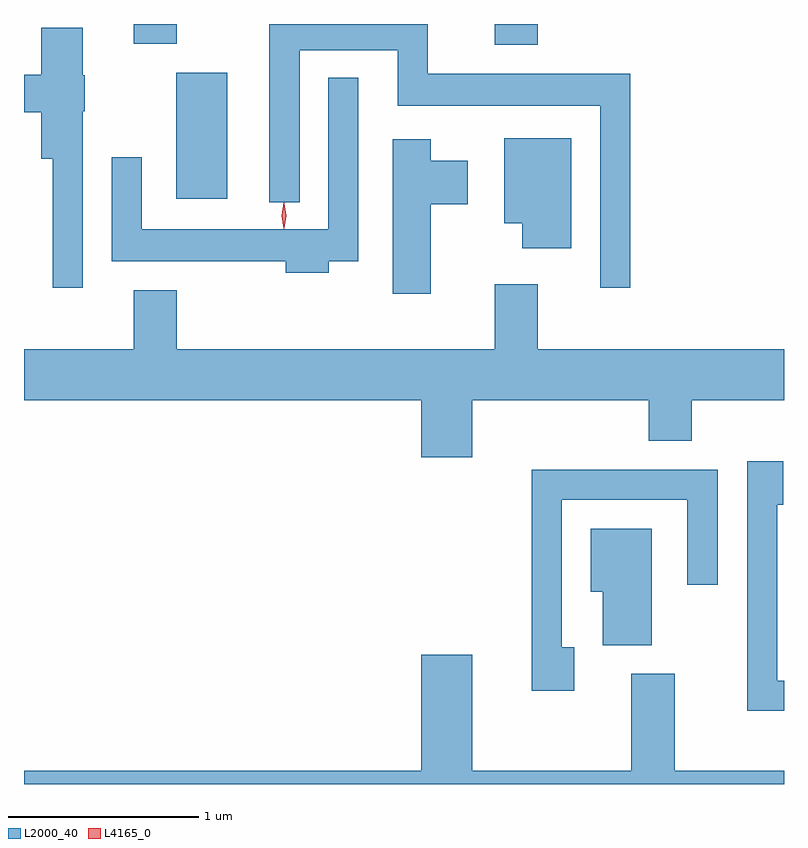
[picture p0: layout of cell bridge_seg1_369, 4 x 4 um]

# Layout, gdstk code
import gdstk
lib = gdstk.Library(unit=1e-6, precision=1e-09)
def R(c, l, rs):  # rectangles x0, y0, x1, y1
    for r in rs: c.add(gdstk.rectangle(r[:2], r[2:], *l))
def P(c, l, *ps):  # polygons
    for p in ps: c.add(gdstk.Polygon(p, *l))
L2000_40 = (2000, 40)
L4165_0 = (4165, 0)

bridge_seg1_369 = lib.new_cell('bridge_seg1_369')
R(bridge_seg1_369, L2000_40, [(873.126,869.556,873.394,870.219), (874.801,870.366,875.029,870.475), (872.901,870.371,873.129,870.475)])
P(bridge_seg1_369, L2000_40, [(875.514,870.214),(874.449,870.214),(874.449,870.475),(873.616,870.475),(873.616,869.538),(873.774,869.538),(873.774,870.336),(874.291,870.336),(874.291,870.046),(875.356,870.046),(875.356,869.088),(875.514,869.088)],
  [(872.634,870.015),(872.644,870.015),(872.644,870.205),(872.634,870.205),(872.634,870.454),(872.416,870.454),(872.416,870.209),(872.324,870.209),(872.324,870.011),(872.416,870.011),(872.416,869.766),(872.476,869.766),(872.476,869.088),(872.634,869.088)],
  [(873.929,869.226),(874.084,869.226),(874.084,870.193),(873.926,870.193),(873.926,869.394),(872.944,869.394),(872.944,869.773),(872.786,869.773),(872.786,869.226),(873.701,869.226),(873.701,869.166),(873.929,869.166)],
  [(875.204,869.874),(874.851,869.874),(874.851,869.426),(874.946,869.426),(874.946,869.296),(875.204,869.296)],
  [(874.464,869.526),(874.659,869.526),(874.659,869.754),(874.464,869.754),(874.464,869.869),(874.266,869.869),(874.266,869.056),(874.464,869.056)],
  [(874.684,868.496),(875.611,868.496),(875.611,868.281),(875.839,868.281),(875.839,868.496),(876.324,868.496),(876.324,868.764),(875.029,868.764),(875.029,869.104),(874.801,869.104),(874.801,868.764),(873.129,868.764),(873.129,869.074),(872.901,869.074),(872.901,868.764),(872.324,868.764),(872.324,868.496),(874.416,868.496),(874.416,868.196),(874.684,868.196)],
  [(876.324,867.019),(876.289,867.019),(876.289,867.946),(876.319,867.946),(876.319,868.174),(876.131,868.174),(876.131,866.861),(876.324,866.861)],
  [(875.219,867.194),(875.154,867.194),(875.154,867.971),(875.816,867.971),(875.816,867.523),(875.974,867.523),(875.974,868.129),(874.996,868.129),(874.996,866.966),(875.219,866.966)],
  [(875.629,867.819),(875.306,867.819),(875.306,867.486),(875.371,867.486),(875.371,867.206),(875.629,867.206)],
  [(875.521,867.054),(875.521,866.544),(874.684,866.544),(874.684,867.154),(874.416,867.154),(874.416,866.544),(872.324,866.544),(872.324,866.475),(876.324,866.475),(876.324,866.544),(875.749,866.544),(875.749,867.054)])
P(bridge_seg1_369, L4165_0, [(873.695,869.399),(873.694,869.4),(873.685,869.466),(873.694,869.532),(873.695,869.533),(873.695,869.532),(873.705,869.466),(873.695,869.4)],
  [(873.69,869.397),(873.69,869.397),(873.68,869.467),(873.69,869.536),(873.69,869.536),(873.691,869.536),(873.7,869.467),(873.691,869.397)])

lib.write_gds('bridge_seg1_369.gds')
